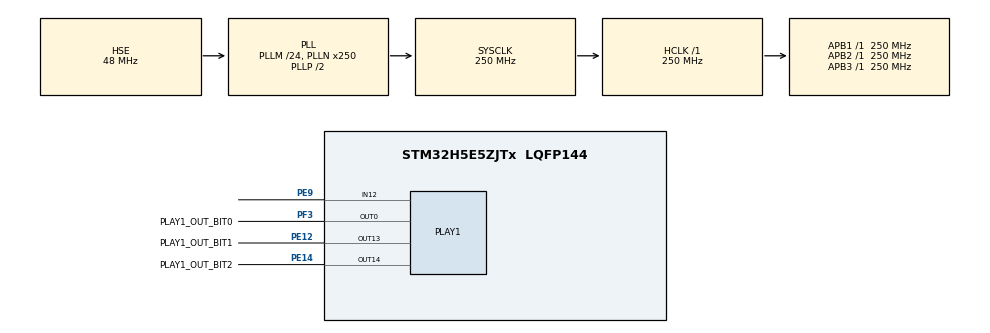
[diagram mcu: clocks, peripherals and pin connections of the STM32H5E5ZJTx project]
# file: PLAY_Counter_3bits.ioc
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CORTEX_M33_NS.userName=CORTEX_M33
Mcu.Family=STM32H5
Mcu.Name=STM32H5E5ZJTx
Mcu.Package=LQFP144
NVIC.PLAY1_IRQn=true\:0\:0\:false\:false\:true\:true\:true\:true
NVIC.PriorityGroup=NVIC_PRIORITYGROUP_4
PE12.GPIO_Label=PLAY1_OUT_BIT1
PE12.GPIO_Speed=GPIO_SPEED_FREQ_HIGH
PE12.Mode=PLAY1_OUT13
PE12.Signal=PLAY1_OUT13
PE14.GPIO_Label=PLAY1_OUT_BIT2
PE14.GPIO_Speed=GPIO_SPEED_FREQ_HIGH
PE14.Mode=PLAY1_OUT14
PE14.Signal=PLAY1_OUT14
PE9.GPIO_PuPd=GPIO_PULLDOWN
PE9.GPIO_Speed=GPIO_SPEED_FREQ_HIGH
PE9.Mode=PLAY1_IN12
PE9.Signal=PLAY1_IN12
PF3.GPIO_Label=PLAY1_OUT_BIT0
PF3.GPIO_Speed=GPIO_SPEED_FREQ_HIGH
PF3.Mode=PLAY1_OUT0
PF3.Signal=PLAY1_OUT0
PH0-OSC_IN(PH0).Mode=HSE-External-Oscillator
PH0-OSC_IN(PH0).Signal=RCC_OSC_IN
PH1-OSC_OUT(PH1).Mode=HSE-External-Oscillator
PH1-OSC_OUT(PH1).Signal=RCC_OSC_OUT
PLAY1.Channel-PLAY1_IN12=PLAY_CHANNEL_12
PLAY1.InputEdgeDetection12=HAL_PLAY_EDGE_DETECTION_RISING
PLAY1.InputPulseWidth12=0
PLAY1.InputSignal12=HAL_PLAY1_IN_IN12_MUX12
PLAY1.L0ClockEnable=HAL_PLAY_LUT_CLK_GATE_FILTER12
PLAY1.L0Input0=HAL_PLAY_LUT_INPUT_LUT0_OUT_REGISTERED
PLAY1.L0InputType0=OutputRegisteredSignal
PLAY1.L0LUT=0x5555
PLAY1.L1ClockEnable=HAL_PLAY_LUT_CLK_GATE_FILTER12
PLAY1.L1Input0=HAL_PLAY_LUT_INPUT_LUT1_OUT_REGISTERED
PLAY1.L1Input1=HAL_PLAY_LUT_INPUT_LUT0_OUT_REGISTERED
PLAY1.L1InputType0=OutputRegisteredSignal
PLAY1.L1InputType1=OutputRegisteredSignal
PLAY1.L1LUT=0x6666
PLAY1.L2ClockEnable=HAL_PLAY_LUT_CLK_GATE_FILTER12
PLAY1.L2Input0=HAL_PLAY_LUT_INPUT_LUT2_OUT_REGISTERED
PLAY1.L2Input1=HAL_PLAY_LUT_INPUT_LUT1_OUT_REGISTERED
PLAY1.L2InputType0=OutputRegisteredSignal
PLAY1.L2InputType1=OutputRegisteredSignal
PLAY1.L2InputType2=OutputRegisteredSignal
PLAY1.L2LUT=0x6A6A
PLAY1.LUT0InputUsage0=enable
PLAY1.LUT0InputUsage1=disable
PLAY1.LUT1InputUsage0=enable
PLAY1.LUT1InputUsage1=enable
PLAY1.LUT2InputUsage0=enable
PLAY1.LUT2InputUsage1=enable
PLAY1.LUT2InputUsage2=enable
PLAY1.OutputSignal0=HAL_PLAY_LUT0_OUT_REGISTERED
PLAY1.OutputSignal13=HAL_PLAY_LUT1_OUT_REGISTERED
PLAY1.OutputSignal14=HAL_PLAY_LUT2_OUT_REGISTERED
ProjectManager.HeapSize=0x200
ProjectManager.StackSize=0x400
ProjectManager.TargetToolchain=EWARM V9.20
RCC.ADCFreq_Value=250000000
RCC.AHBFreq_Value=250000000
RCC.APB1Freq_Value=250000000
RCC.APB1TimFreq_Value=250000000
RCC.APB2Freq_Value=250000000
RCC.APB2TimFreq_Value=250000000
RCC.APB3Freq_Value=250000000
RCC.CSI_VALUE=4000000
RCC.CortexFreq_Value=250000000
RCC.EPOD_VALUE=48000000
RCC.HCLKFreq_Value=250000000
RCC.HSE_VALUE=48000000
RCC.HSI48_VALUE=48000000
RCC.HSI_VALUE=64000000
RCC.LSE_VALUE=32768
RCC.LSIRC_VALUE=32000
RCC.PLL2M=2
RCC.PLL2N=8
RCC.PLL2Source=RCC_PLL2_SOURCE_HSI
RCC.PLLM=24
RCC.PLLN=250
RCC.PLLSourceVirtual=RCC_PLL1_SOURCE_HSE
RCC.SYSCLKFreq_VALUE=250000000
RCC.SYSCLKSource=RCC_SYSCLKSOURCE_PLLCLK
RCC.USBFreq_Value=258000000
RCC.VCOOutputFreq_Value=500000000
VP_CORTEX_M33_NS_VS_Hclk.Mode=Hclk_Mode
VP_ICACHE_VS_ICACHE.Mode=DefaultMode
VP_PLAY1_VS_PLA.Mode=PLAY_Activate
VP_PWR_VS_LPOM.Mode=PowerOptimisation
VP_PWR_VS_SECSignals.Mode=Security/Privilege
board=custom

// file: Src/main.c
/* USER CODE BEGIN Header */
/**
  ******************************************************************************
  * @file           : main.c
  * @brief          : Main program body
  ******************************************************************************
  * @attention
  *
  * Copyright (c) 2025 STMicroelectronics.
  * All rights reserved.
  *
  * This software is licensed under terms that can be found in the LICENSE file
  * in the root directory of this software component.
  * If no LICENSE file comes with this software, it is provided AS-IS.
  *
  ******************************************************************************
  */
/* USER CODE END Header */
#include "main.h"

#define CONFIGURED_INPUT_NBR   1U
#define CONFIGURED_LUT_NBR     3U
#define CONFIGURED_OUTPUT_NBR  3U

HAL_PLAY_HandleTypeDef hplay1;

void SystemClock_Config(void);
static void MX_GPIO_Init(void);
static void MX_ICACHE_Init(void);
static void MX_PLAY1_Init(void);
/* USER CODE BEGIN PFP */
static void lut_output_falling_callback(HAL_PLAY_HandleTypeDef *hplay, uint32_t edge_trig_mask_status);
/* USER CODE END PFP */

int main(void)
{

  /* USER CODE BEGIN 1 */
  HAL_PLAY_EdgeTriggerConfTypeDef edge_trigger_config;

  /* USER CODE END 1 */

  /* MCU Configuration--------------------------------------------------------*/

  /* Reset of all peripherals, Initializes the Flash interface and the Systick. */
  HAL_Init();

  /* Configure the system clock */
  SystemClock_Config();

  /* Initialize all configured peripherals */
  MX_GPIO_Init();
  MX_ICACHE_Init();
  MX_PLAY1_Init();
  /* USER CODE BEGIN 2 */
  BSP_LED_Init(LED_RED);
  BSP_LED_Init(LED_BLUE);

  /* Register the PLAY LUT output falling edge callbacks */
  if (HAL_PLAY_RegisterLUTOutputCallback(&hplay1, HAL_PLAY_LUT_OUTPUT_FALLING_CB_ID,
                                         lut_output_falling_callback) != HAL_OK)
  {
    Error_Handler();
  }

  /* Enable LUT2 registered output falling edge trigger */
  edge_trigger_config.lut_out_falling_mask = HAL_PLAY_LUT2_OUT_REGISTERED;
  edge_trigger_config.lut_out_rising_mask = 0U;

  /* Start PLAY module */
  if (HAL_PLAY_Start(&hplay1, &edge_trigger_config) != HAL_OK)
  {
    Error_Handler();
  }

  if (HAL_PLAY_LUT_EnableIT(&hplay1, HAL_PLAY_LUT2_OUT_REGISTERED) != HAL_OK)
  {
    Error_Handler();
  }

  /* USER CODE END 2 */

  /* Infinite loop */
  while (1)
  {

  }
}

void SystemClock_Config(void)
{
  RCC_OscInitTypeDef RCC_OscInitStruct = {0};
  RCC_ClkInitTypeDef RCC_ClkInitStruct = {0};

  /** Configure the main internal regulator output voltage
  */
  __HAL_PWR_VOLTAGESCALING_CONFIG(PWR_REGULATOR_VOLTAGE_SCALE0);

  while(!__HAL_PWR_GET_FLAG(PWR_FLAG_VOSRDY)) {}

  /** Initializes the RCC Oscillators according to the specified parameters
  * in the RCC_OscInitTypeDef structure.
  */
  RCC_OscInitStruct.OscillatorType = RCC_OSCILLATORTYPE_HSE;
  RCC_OscInitStruct.HSEState = RCC_HSE_ON;
  RCC_OscInitStruct.PLL.PLLState = RCC_PLL_ON;
  RCC_OscInitStruct.PLL.PLLSource = RCC_PLL1_SOURCE_HSE;
  RCC_OscInitStruct.PLL.PLLM = 24;
  RCC_OscInitStruct.PLL.PLLN = 250;
  RCC_OscInitStruct.PLL.PLLP = 2;
  RCC_OscInitStruct.PLL.PLLQ = 2;
  RCC_OscInitStruct.PLL.PLLR = 2;
  RCC_OscInitStruct.PLL.PLLRGE = RCC_PLL1_VCIRANGE_1;
  RCC_OscInitStruct.PLL.PLLVCOSEL = RCC_PLL1_VCORANGE_WIDE;
  RCC_OscInitStruct.PLL.PLLFRACN = 0;
  if (HAL_RCC_OscConfig(&RCC_OscInitStruct) != HAL_OK)
  {
    Error_Handler();
  }

  /** Initializes the CPU, AHB and APB buses clocks
  */
  RCC_ClkInitStruct.ClockType = RCC_CLOCKTYPE_HCLK|RCC_CLOCKTYPE_SYSCLK
                              |RCC_CLOCKTYPE_PCLK1|RCC_CLOCKTYPE_PCLK2
                              |RCC_CLOCKTYPE_PCLK3;
  RCC_ClkInitStruct.SYSCLKSource = RCC_SYSCLKSOURCE_PLLCLK;
  RCC_ClkInitStruct.AHBCLKDivider = RCC_SYSCLK_DIV1;
  RCC_ClkInitStruct.APB1CLKDivider = RCC_HCLK_DIV1;
  RCC_ClkInitStruct.APB2CLKDivider = RCC_HCLK_DIV1;
  RCC_ClkInitStruct.APB3CLKDivider = RCC_HCLK_DIV1;

  if (HAL_RCC_ClockConfig(&RCC_ClkInitStruct, FLASH_LATENCY_5) != HAL_OK)
  {
    Error_Handler();
  }

  /** Configure the programming delay
  */
  __HAL_FLASH_SET_PROGRAM_DELAY(FLASH_PROGRAMMING_DELAY_2);
}

static void MX_ICACHE_Init(void)
{

  /** Enable instruction cache (default 2-ways set associative cache)
  */
  if (HAL_ICACHE_Enable() != HAL_OK)
  {
    Error_Handler();
  }

}

static void MX_PLAY1_Init(void)
{

  HAL_PLAY_IN_ConfTypeDef configINPUTs[CONFIGURED_INPUT_NBR];
  HAL_PLAY_LUT_ConfTypeDef configLUTs[CONFIGURED_LUT_NBR];
  HAL_PLAY_OUT_ConfTypeDef configOUTPUTs[CONFIGURED_OUTPUT_NBR];

  hplay1.instance = PLAY1;

  if (HAL_PLAY_Init(&hplay1) != HAL_OK)
  {
    Error_Handler();
  }

  /** Configure Input 12
  */
  configINPUTs[0].min_pulse_width = 0;
  configINPUTs[0].mode = HAL_PLAY_EDGE_DETECTION_RISING;
  configINPUTs[0].source = HAL_PLAY1_IN_IN12_MUX12;
  if (HAL_PLAY_INPUT_SetConfig(&hplay1, configINPUTs, CONFIGURED_INPUT_NBR) != HAL_OK)
  {
    Error_Handler();
  }

  /** Configure the Logic Element 0
  */
  configLUTs[0].lut = HAL_PLAY_LUT0;
  configLUTs[0].truth_table = 0x5555;
  configLUTs[0].input_source[HAL_PLAY_LUT_INPUT0] = HAL_PLAY_LUT_INPUT_LUT0_OUT_REGISTERED;
  configLUTs[0].input_source[HAL_PLAY_LUT_INPUT1] = HAL_PLAY_LUT_INPUT_DEFAULT;
  configLUTs[0].input_source[HAL_PLAY_LUT_INPUT2] = HAL_PLAY_LUT_INPUT_DEFAULT;
  configLUTs[0].input_source[HAL_PLAY_LUT_INPUT3] = HAL_PLAY_LUT_INPUT_DEFAULT;
  configLUTs[0].clk_gate_source = HAL_PLAY_LUT_CLK_GATE_FILTER12;

  /** Configure the Logic Element 1
  */
  configLUTs[1].lut = HAL_PLAY_LUT1;
  configLUTs[1].truth_table = 0x6666;
  configLUTs[1].input_source[HAL_PLAY_LUT_INPUT0] = HAL_PLAY_LUT_INPUT_LUT1_OUT_REGISTERED;
  configLUTs[1].input_source[HAL_PLAY_LUT_INPUT1] = HAL_PLAY_LUT_INPUT_LUT0_OUT_REGISTERED;
  configLUTs[1].input_source[HAL_PLAY_LUT_INPUT2] = HAL_PLAY_LUT_INPUT_DEFAULT;
  configLUTs[1].input_source[HAL_PLAY_LUT_INPUT3] = HAL_PLAY_LUT_INPUT_DEFAULT;
  configLUTs[1].clk_gate_source = HAL_PLAY_LUT_CLK_GATE_FILTER12;

  /** Configure the Logic Element 2
  */
  configLUTs[2].lut = HAL_PLAY_LUT2;
  configLUTs[2].truth_table = 0x6A6A;
  configLUTs[2].input_source[HAL_PLAY_LUT_INPUT0] = HAL_PLAY_LUT_INPUT_LUT2_OUT_REGISTERED;
  configLUTs[2].input_source[HAL_PLAY_LUT_INPUT1] = HAL_PLAY_LUT_INPUT_LUT1_OUT_REGISTERED;
  configLUTs[2].input_source[HAL_PLAY_LUT_INPUT2] = HAL_PLAY_LUT_INPUT_LUT0_OUT_REGISTERED;
  configLUTs[2].input_source[HAL_PLAY_LUT_INPUT3] = HAL_PLAY_LUT_INPUT_DEFAULT;
  configLUTs[2].clk_gate_source = HAL_PLAY_LUT_CLK_GATE_FILTER12;
  if (HAL_PLAY_LUT_SetConfig(&hplay1, configLUTs, CONFIGURED_LUT_NBR) != HAL_OK)
  {
    Error_Handler();
  }

  /** Configure Output 0
  */
  configOUTPUTs[0].output_mux = HAL_PLAY_OUT0;
  configOUTPUTs[0].lut_output = HAL_PLAY_LUT0_OUT_REGISTERED;

  /** Configure Output 13
  */
  configOUTPUTs[1].output_mux = HAL_PLAY_OUT13;
  configOUTPUTs[1].lut_output = HAL_PLAY_LUT1_OUT_REGISTERED;

  /** Configure Output 14
  */
  configOUTPUTs[2].output_mux = HAL_PLAY_OUT14;
  configOUTPUTs[2].lut_output = HAL_PLAY_LUT2_OUT_REGISTERED;
  if (HAL_PLAY_OUTPUT_SetConfig(&hplay1, configOUTPUTs, CONFIGURED_OUTPUT_NBR) != HAL_OK)
  {
    Error_Handler();
  }

  /** PLAY Privileged access configuration
  */
  HAL_PLAY_SetPrivAttr(&hplay1, HAL_PLAY_PRIV_ITEM_ALL, HAL_PLAY_NPRIV);

}

static void MX_GPIO_Init(void)
{

  /* GPIO Ports Clock Enable */
  __HAL_RCC_GPIOH_CLK_ENABLE();

}

/* USER CODE BEGIN 4 */

/** Callback for LUT Output Falling Edge
  * This function is called when the LUT2 output signal falls (i.e., when the counter resets to 0).
  */
static void lut_output_falling_callback(HAL_PLAY_HandleTypeDef *hplay, uint32_t edge_trig_mask_status)
{
  /* Prevent unused argument(s) compilation warning */
  UNUSED(hplay);

  if ((edge_trig_mask_status & HAL_PLAY_LUT2_OUT_REGISTERED) == HAL_PLAY_LUT2_OUT_REGISTERED)
  {
    /** Toggle the LED time the counter resets to 0
      * (falling edge of most significant bit signal).
      */
    BSP_LED_Toggle(LED_BLUE);
  }
}
/* USER CODE END 4 */

void Error_Handler(void)
{
  /* USER CODE BEGIN Error_Handler_Debug */
  /* User can add his own implementation to report the HAL error return state */
  __disable_irq();
  while (1)
  {
    BSP_LED_Toggle(LED_RED);
    HAL_Delay(1000);
  }
  /* USER CODE END Error_Handler_Debug */
}
